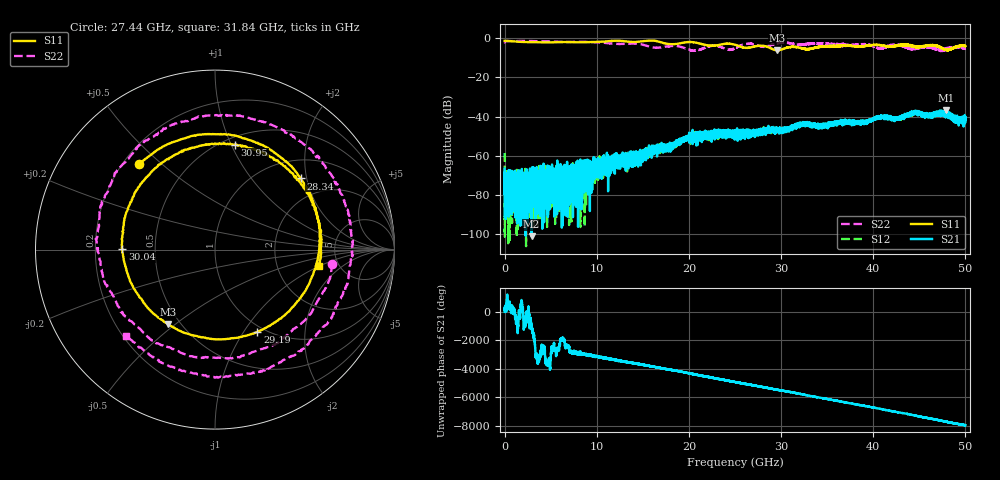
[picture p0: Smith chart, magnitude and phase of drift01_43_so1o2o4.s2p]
!Created with skrf (http://scikit-rf.org).
# Hz S RI R 50.0
!freq ReS11 ImS11 ReS21 ImS21 ReS12 ImS12 ReS22 ImS22
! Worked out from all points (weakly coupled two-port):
!   10001 points, 300 kHz to 50 GHz, reference 50 ohm
!   highest |S21| = -36.58 dB at 47.89 GHz (marker M1); lowest = -101.2 dB at 2.93 GHz (marker M2)
!   lowest |S11| = -6.2 dB at 29.61 GHz (marker M3), VSWR 2.91, Z = 21.6 - j23.5 ohm
!   |S11| at or under -10 dB: nowhere
!   |S22| runs from -6.6 to -1.4 dB; largest |S21 - S12| = 0.0036
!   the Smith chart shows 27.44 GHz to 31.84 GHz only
!   S11 on the Smith chart (normalised r, x): 27.44 GHz: 0.26, +0.42; 28.34 GHz: 1.43, +1.84; 29.19 GHz: 0.93, -1.16; 30.04 GHz: 0.32, +0.00; 30.95 GHz: 0.57, +1.03; 31.84 GHz: 3.55, -0.99
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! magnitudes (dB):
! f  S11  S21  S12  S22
! 300 kHz  -1.3  -66.7  -58.6  -2.0
! 255.3 MHz  -1.4  -87.3  -91.8  -1.4
! 2.93 GHz  -2.0  -101.2  -74.5  -1.4
! 5.93 GHz  -2.0  -78.8  -70.0  -1.8
! 8.335 GHz  -2.0  -66.7  -81.4  -1.8
! 16.67 GHz  -1.6  -56.7  -56.9  -4.8
! 20.61 GHz  -2.1  -49.0  -49.1  -6.3
! 22.6 GHz  -3.8  -48.1  -48.7  -3.7
! 25 GHz  -3.3  -48.1  -48.5  -5.1
! 27.44 GHz  -3.9  -48.9  -47.6  -3.7
! 28.34 GHz  -4.2  -47.6  -48.0  -4.2
! 29.19 GHz  -5.8  -46.8  -47.0  -3.0
! 29.61 GHz  -6.2  -47.4  -46.3  -2.5
! 30.04 GHz  -5.7  -46.4  -47.3  -2.4
! 30.95 GHz  -4.5  -46.4  -45.9  -2.5
! 31.84 GHz  -4.6  -43.8  -43.8  -3.2
! 33.34 GHz  -5.3  -44.0  -43.7  -2.6
! 41.67 GHz  -4.2  -40.0  -40.4  -4.1
! 44.62 GHz  -4.2  -37.9  -38.2  -5.1
! 46.49 GHz  -3.5  -38.9  -39.8  -5.2
! 47.89 GHz  -5.9  -36.6  -38.0  -5.5
! 50 GHz  -3.9  -40.2  -41.9  -5.4
